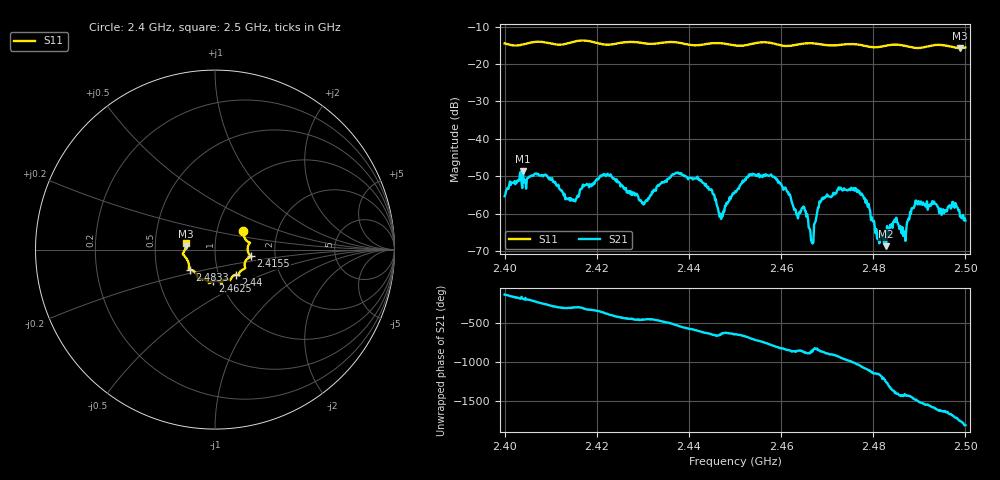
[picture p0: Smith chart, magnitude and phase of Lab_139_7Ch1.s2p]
# Hz S RI R 50
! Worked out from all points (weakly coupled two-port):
!   601 points, 2.4 GHz to 2.5 GHz, reference 50 ohm
!   highest |S21| = -48.71 dB at 2.404 GHz (marker M1); lowest = -68.7 dB at 2.4828 GHz (marker M2)
!   lowest |S11| = -15.7 dB at 2.4988 GHz (marker M3), VSWR 1.39, Z = 36 + j1.38 ohm
!   |S11| at or under -10 dB: start of sweep to end of sweep
!   S12 and S22 are empty: the file has one direction only
!   S11 on the Smith chart (normalised r, x): 2.4 GHz: 1.33, +0.29; 2.4155 GHz: 1.49, -0.11; 2.44 GHz: 1.21, -0.35; 2.4625 GHz: 0.92, -0.34; 2.4833 GHz: 0.74, -0.17; 2.5 GHz: 0.72, +0.06
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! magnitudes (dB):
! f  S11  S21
! 2.4 GHz  -14.5  -55.4
! 2.404 GHz  -14.8  -48.7
! 2.4155 GHz  -13.9  -56.1
! 2.4167 GHz  -13.7  -53.4
! 2.4227 GHz  -14.8  -49.9
! 2.4302 GHz  -14.4  -57.6
! 2.4333 GHz  -14.4  -52.4
! 2.44 GHz  -14.8  -50.4
! 2.447 GHz  -14.4  -61.4
! 2.45 GHz  -15.0  -54.1
! 2.4575 GHz  -14.3  -49.9
! 2.4625 GHz  -15.0  -57.5
! 2.4652 GHz  -14.5  -59.2
! 2.4667 GHz  -14.4  -67.7
! 2.4688 GHz  -14.8  -56.2
! 2.4757 GHz  -14.7  -53.7
! 2.4828 GHz  -15.1  -68.7
! 2.4833 GHz  -15.0  -65.5
! 2.4867 GHz  -15.1  -64.7
! 2.4895 GHz  -15.7  -57.4
! 2.4988 GHz  -15.7  -60.8
! 2.5 GHz  -15.6  -61.9
